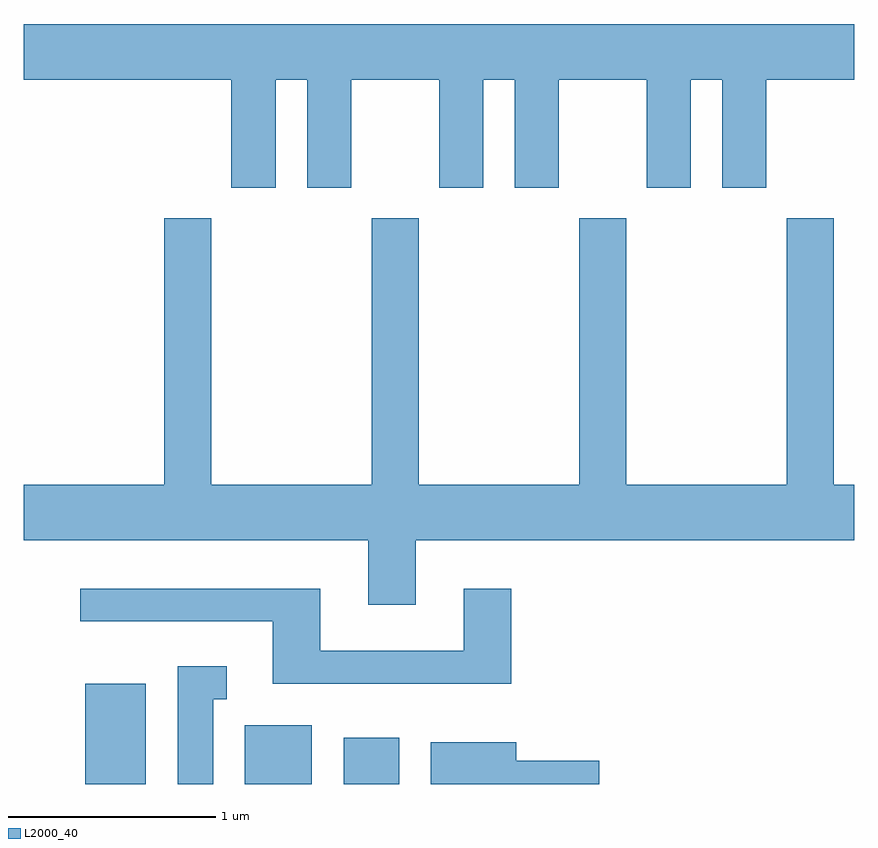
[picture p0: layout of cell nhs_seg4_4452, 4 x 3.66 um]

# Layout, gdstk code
import gdstk
lib = gdstk.Library(unit=1e-6, precision=1e-09)
def R(c, l, rs):  # rectangles x0, y0, x1, y1
    for r in rs: c.add(gdstk.rectangle(r[:2], r[2:], *l))
def P(c, l, *ps):  # polygons
    for p in ps: c.add(gdstk.Polygon(p, *l))
L2000_40 = (2000, 40)

nhs_seg4_4452 = lib.new_cell('nhs_seg4_4452')
R(nhs_seg4_4452, L2000_40, [(315.906,1317.982,316.199,1318.464), (316.676,1317.982,316.999,1318.264), (317.151,1317.982,317.419,1318.204)])
P(nhs_seg4_4452, L2000_40, [(315.611,1321.376),(316.611,1321.376),(316.611,1320.856),(316.824,1320.856),(316.824,1321.376),(316.976,1321.376),(316.976,1320.856),(317.189,1320.856),(317.189,1321.376),(317.611,1321.376),(317.611,1320.856),(317.824,1320.856),(317.824,1321.376),(317.976,1321.376),(317.976,1320.856),(318.189,1320.856),(318.189,1321.376),(318.611,1321.376),(318.611,1320.856),(318.824,1320.856),(318.824,1321.376),(318.976,1321.376),(318.976,1320.856),(319.189,1320.856),(319.189,1321.376),(319.611,1321.376),(319.611,1321.644),(315.611,1321.644)],
  [(317.499,1319.156),(319.611,1319.156),(319.611,1319.424),(319.514,1319.424),(319.514,1320.709),(319.286,1320.709),(319.286,1319.424),(318.514,1319.424),(318.514,1320.709),(318.286,1320.709),(318.286,1319.424),(317.514,1319.424),(317.514,1320.709),(317.286,1320.709),(317.286,1319.424),(316.514,1319.424),(316.514,1320.709),(316.286,1320.709),(316.286,1319.424),(315.611,1319.424),(315.611,1319.156),(317.271,1319.156),(317.271,1318.846),(317.499,1318.846)],
  [(317.959,1318.924),(317.731,1318.924),(317.731,1318.624),(317.039,1318.624),(317.039,1318.924),(315.883,1318.924),(315.883,1318.766),(316.811,1318.766),(316.811,1318.466),(317.959,1318.466)],
  [(316.524,1318.391),(316.588,1318.391),(316.588,1318.549),(316.351,1318.549),(316.351,1317.982),(316.524,1317.982)],
  [(318.384,1318.094),(317.984,1318.094),(317.984,1318.184),(317.571,1318.184),(317.571,1317.982),(318.384,1317.982)])

lib.write_gds('nhs_seg4_4452.gds')
